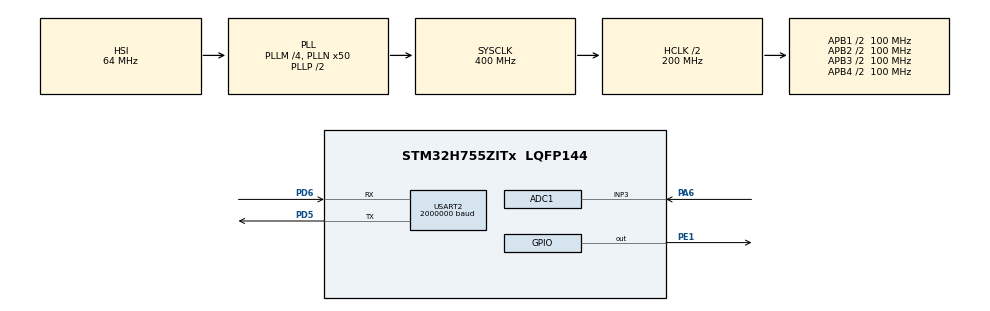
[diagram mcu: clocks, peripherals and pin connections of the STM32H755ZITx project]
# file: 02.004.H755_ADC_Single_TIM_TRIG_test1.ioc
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ADC1.Channel-0\#ChannelRegularConversion=ADC_CHANNEL_3
ADC1.ConversionDataManagement=ADC_CONVERSIONDATA_DMA_CIRCULAR
ADC1.ExternalTrigConv=ADC_EXTERNALTRIG_T8_TRGO
ADC1.NbrOfConversionFlag=1
ADC1.OffsetNumber-0\#ChannelRegularConversion=ADC_OFFSET_NONE
ADC1.OffsetSignedSaturation-0\#ChannelRegularConversion=DISABLE
ADC1.Rank-0\#ChannelRegularConversion=1
ADC1.SamplingTime-0\#ChannelRegularConversion=ADC_SAMPLETIME_1CYCLE_5
ADC1.master=1
CortexM4.IPs=FATFS_M4\:I,FREERTOS_M4\:I,IWDG2\:I,RCC,WWDG2\:I,DMA,BDMA,MDMA,NVIC2\:I,ETH,DEBUG,PDM2PCM_M4\:I,PWR,RESMGR_UTILITY,SYS_M4\:I,USB_DEVICE_M4\:I,USB_HOST_M4\:I,CORTEX_M4\:I,GPIO,OPENAMP_M4\:I,VREFBUF,NUCLEO-H755ZI-Q
CortexM7.IPs=FATFS_M7\:I,FREERTOS_M7\:I,IWDG1\:I,RCC\:I,WWDG1\:I,DMA\:I,BDMA\:I,MDMA\:I,NVIC1\:I,ETH\:I,USB_OTG_FS\:I,SYS\:I,CORTEX_M7\:I,DEBUG\:I,PDM2PCM_M7\:I,PWR\:I,RESMGR_UTILITY\:I,USB_DEVICE_M7\:I,USB_HOST_M7\:I,GPIO\:I,OPENAMP_M7\:I,VREFBUF\:I,NUCLEO-H755ZI-Q\:I,MEMORYMAP\:I,USART2\:I,TIM8\:I,ADC1\:I
CortexM7.Pins=PE1
Dma.ADC1.2.Direction=DMA_PERIPH_TO_MEMORY
Dma.ADC1.2.EventEnable=DISABLE
Dma.ADC1.2.FIFOMode=DMA_FIFOMODE_DISABLE
Dma.ADC1.2.Instance=DMA1_Stream2
Dma.ADC1.2.MemDataAlignment=DMA_MDATAALIGN_HALFWORD
Dma.ADC1.2.MemInc=DMA_MINC_ENABLE
Dma.ADC1.2.Mode=DMA_CIRCULAR
Dma.ADC1.2.PeriphDataAlignment=DMA_PDATAALIGN_HALFWORD
Dma.ADC1.2.PeriphInc=DMA_PINC_DISABLE
Dma.ADC1.2.Polarity=HAL_DMAMUX_REQ_GEN_RISING
Dma.ADC1.2.Priority=DMA_PRIORITY_LOW
Dma.ADC1.2.RequestNumber=1
Dma.ADC1.2.SignalID=NONE
Dma.ADC1.2.SyncEnable=DISABLE
Dma.ADC1.2.SyncPolarity=HAL_DMAMUX_SYNC_NO_EVENT
Dma.ADC1.2.SyncRequestNumber=1
Dma.ADC1.2.SyncSignalID=NONE
Dma.Request0=USART2_TX
Dma.Request1=USART2_RX
Dma.Request2=ADC1
Dma.USART2_RX.1.Direction=DMA_PERIPH_TO_MEMORY
Dma.USART2_RX.1.EventEnable=DISABLE
Dma.USART2_RX.1.FIFOMode=DMA_FIFOMODE_DISABLE
Dma.USART2_RX.1.Instance=DMA1_Stream1
Dma.USART2_RX.1.MemDataAlignment=DMA_MDATAALIGN_BYTE
Dma.USART2_RX.1.MemInc=DMA_MINC_ENABLE
Dma.USART2_RX.1.Mode=DMA_NORMAL
Dma.USART2_RX.1.PeriphDataAlignment=DMA_PDATAALIGN_BYTE
Dma.USART2_RX.1.PeriphInc=DMA_PINC_DISABLE
Dma.USART2_RX.1.Polarity=HAL_DMAMUX_REQ_GEN_RISING
Dma.USART2_RX.1.Priority=DMA_PRIORITY_LOW
Dma.USART2_RX.1.RequestNumber=1
Dma.USART2_RX.1.SignalID=NONE
Dma.USART2_RX.1.SyncEnable=DISABLE
Dma.USART2_RX.1.SyncPolarity=HAL_DMAMUX_SYNC_NO_EVENT
Dma.USART2_RX.1.SyncRequestNumber=1
Dma.USART2_RX.1.SyncSignalID=NONE
Dma.USART2_TX.0.Direction=DMA_MEMORY_TO_PERIPH
Dma.USART2_TX.0.EventEnable=DISABLE
Dma.USART2_TX.0.FIFOMode=DMA_FIFOMODE_DISABLE
Dma.USART2_TX.0.Instance=DMA1_Stream0
Dma.USART2_TX.0.MemDataAlignment=DMA_MDATAALIGN_BYTE
Dma.USART2_TX.0.MemInc=DMA_MINC_ENABLE
Dma.USART2_TX.0.Mode=DMA_NORMAL
Dma.USART2_TX.0.PeriphDataAlignment=DMA_PDATAALIGN_BYTE
Dma.USART2_TX.0.PeriphInc=DMA_PINC_DISABLE
Dma.USART2_TX.0.Polarity=HAL_DMAMUX_REQ_GEN_RISING
Dma.USART2_TX.0.Priority=DMA_PRIORITY_LOW
Dma.USART2_TX.0.RequestNumber=1
Dma.USART2_TX.0.SignalID=NONE
Dma.USART2_TX.0.SyncEnable=DISABLE
Dma.USART2_TX.0.SyncPolarity=HAL_DMAMUX_SYNC_NO_EVENT
Dma.USART2_TX.0.SyncRequestNumber=1
Dma.USART2_TX.0.SyncSignalID=NONE
Mcu.Family=STM32H7
Mcu.Name=STM32H755ZITx
Mcu.Package=LQFP144
NVIC1.ADC_IRQn=true\:1\:0\:true\:false\:true\:true\:true\:true
NVIC1.DMA1_Stream0_IRQn=true\:2\:0\:true\:false\:true\:false\:true\:true
NVIC1.DMA1_Stream1_IRQn=true\:2\:0\:true\:false\:true\:false\:true\:true
NVIC1.DMA1_Stream2_IRQn=true\:1\:0\:true\:false\:true\:false\:true\:true
NVIC1.PriorityGroup=NVIC_PRIORITYGROUP_4
NVIC1.TIM8_UP_TIM13_IRQn=true\:0\:0\:false\:false\:true\:true\:true\:true
NVIC1.USART2_IRQn=true\:2\:0\:true\:false\:true\:true\:true\:true
NVIC2.PriorityGroup=NVIC_PRIORITYGROUP_4
PA6.PinAttribute=CortexM7
PA6.Signal=ADCx_INP3
PD5.Mode=Asynchronous
PD5.PinAttribute=CortexM7
PD5.Signal=USART2_TX
PD6.Mode=Asynchronous
PD6.PinAttribute=CortexM7
PD6.Signal=USART2_RX
PE1.PinAttribute=CortexM7
PE1.Signal=GPIO_Output
ProjectManager.HeapSize=M4-0x200,M7-0x200
ProjectManager.StackSize=M4-0x400,M7-0x400
ProjectManager.TargetToolchain=STM32CubeIDE
RCC.ADCFreq_Value=96000000
RCC.APB1Freq_Value=100000000
RCC.APB2Freq_Value=100000000
RCC.APB3Freq_Value=100000000
RCC.APB4Freq_Value=100000000
RCC.CortexFreq_Value=400000000
RCC.D1PPRE=RCC_APB3_DIV2
RCC.D2PPRE1=RCC_APB1_DIV2
RCC.D2PPRE2=RCC_APB2_DIV2
RCC.D3PPRE=RCC_APB4_DIV2
RCC.DIVM1=4
RCC.DIVM2=4
RCC.DIVN1=50
RCC.DIVN2=12
RCC.DIVQ1=5
RCC.HCLKFreq_Value=200000000
RCC.HPRE=RCC_HCLK_DIV2
RCC.PLL2FRACN=0
RCC.PLL3FRACN=0
RCC.PLLFRACN=0
RCC.SYSCLKFreq_VALUE=400000000
RCC.SYSCLKSource=RCC_SYSCLKSOURCE_PLLCLK
RCC.SupplySource=PWR_DIRECT_SMPS_SUPPLY
RCC.USBFreq_Value=160000000
SH.ADCx_INP3.0=ADC1_INP3,IN3-Single-Ended
TIM8.Period=3999
TIM8.Prescaler=49999
TIM8.TIM_MasterOutputTrigger=TIM_TRGO_UPDATE
USART2.BaudRate=2000000
USART2.VirtualMode-Asynchronous=VM_ASYNC
VP_MEMORYMAP_VS_MEMORYMAP.Mode=CurAppReg
VP_SYS_M4_VS_Systick.Mode=SysTick
VP_TIM8_VS_ClockSourceINT.Mode=Internal
board=NUCLEO-H755ZI-Q

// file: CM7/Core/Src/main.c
/* USER CODE BEGIN Header */
/**
  ******************************************************************************
  * @file           : main.c
  * @brief          : Main program body
  ******************************************************************************
  * @attention
  *
  * Copyright (c) 2025 STMicroelectronics.
  * All rights reserved.
  *
  * This software is licensed under terms that can be found in the LICENSE file
  * in the root directory of this software component.
  * If no LICENSE file comes with this software, it is provided AS-IS.
  *
  ******************************************************************************
  */
/* USER CODE END Header */
#include "main.h"

/* USER CODE BEGIN Includes */

/*
 * UART2 DMA RX and TX are used with TIM8 priority-based update interrupt at each 1ms.
 * DMA RX buffer is the normal buffer because DMA completes once after filling the
 * entire 64-byte buffer, and then triggers the “Transfer Complete” interrupt.
 * After that:

	-The DMA doesn’t automatically restart (unless you use circular mode).

	-So, no new UART bytes are transferred from the peripheral into memory.

	-Your code keeps waiting for new data, but DMA is idle — so no more “Got: …” messages.

	Re-enable DMA after full buffer with "void HAL_UART_RxCpltCallback(UART_HandleTypeDef *huart)"

	Tx DMA is also in normal mode

	Enable float for DebugPrint();in CubeIDE through Project → Properties → C/C++ Build → Settings
	Open MCU GCC Linker → Miscellaneous
	In “Other flags”, add:"-u _printf_float".

	Setting						Flash Size
	Default (no float)				~35 KB
	With -u _printf_float			~52 KB

	or do

	float v = 1.2345f;
	DebugPrint("Voltage: %d.%02d V\r\n", (int)v, (int)((v - (int)v) * 100));

	*/
#include <stdio.h>
#include <string.h>
#include <stddef.h>
#include <stdarg.h>
#include <stdbool.h>
#include <stdlib.h>
/* USER CODE END Includes */

/* USER CODE BEGIN PD */

/* DUAL_CORE_BOOT_SYNC_SEQUENCE: Define for dual core boot synchronization    */
/*                             demonstration code based on hardware semaphore */
/* This define is present in both CM7/CM4 projects                            */
/* To comment when developping/debugging on a single core                     */
#define DUAL_CORE_BOOT_SYNC_SEQUENCE

#if defined(DUAL_CORE_BOOT_SYNC_SEQUENCE)
#ifndef HSEM_ID_0
#define HSEM_ID_0 (0U) /* HW semaphore 0*/
#endif
#endif /* DUAL_CORE_BOOT_SYNC_SEQUENCE */

/* USER CODE END PD */

ADC_HandleTypeDef hadc1;
DMA_HandleTypeDef hdma_adc1;

TIM_HandleTypeDef htim8;

UART_HandleTypeDef huart2;
DMA_HandleTypeDef hdma_usart2_tx;
DMA_HandleTypeDef hdma_usart2_rx;

/* USER CODE BEGIN PV */
uint8_t dma_rx_buffer[64];
uint16_t old_pos = 0;

uint8_t tim_update_event = 0;
uint16_t ADC_VAL = 0;
float value = 0.0f;

/* USER CODE END PV */

void SystemClock_Config(void);
static void MX_GPIO_Init(void);
static void MX_DMA_Init(void);
static void MX_USART2_UART_Init(void);
static void MX_TIM8_Init(void);
static void MX_ADC1_Init(void);
/* USER CODE BEGIN PFP */

void DebugPrint(const char *format, ...)
{
    static char uartBuffer[250];  // <--- persists after function returns
    va_list args;
    va_start(args, format);
    vsnprintf(uartBuffer, sizeof(uartBuffer), format, args);
    va_end(args);

    HAL_UART_Transmit_DMA(&huart2, (uint8_t*)uartBuffer, strlen(uartBuffer));
}

void check_dma_data(void)
{
    static uint32_t total_pos = 0;  // new: global linear counter

    uint16_t pos = sizeof(dma_rx_buffer) - __HAL_DMA_GET_COUNTER(&hdma_usart2_rx);

    if (pos != old_pos)
    {
        if (pos > old_pos)
        {
            // Normal forward move (no wrap)
            for (uint16_t i = old_pos; i < pos; i++)
            {
                DebugPrint("\r\nGot: '%c' (0x%02X) at pos %lu\r\n\r\n",
                           dma_rx_buffer[i], dma_rx_buffer[i], total_pos++);
            }
        }
        else
        {
            // Wrapped around — handle end part and restart from 0
            for (uint16_t i = old_pos; i < sizeof(dma_rx_buffer); i++)
            {
                DebugPrint("\r\nGot: '%c' (0x%02X) at pos %lu\r\n\r\n",
                           dma_rx_buffer[i], dma_rx_buffer[i], total_pos++);
            }
            for (uint16_t i = 0; i < pos; i++)
            {
                DebugPrint("\r\nGot: '%c' (0x%02X) at pos %lu\r\n\r\n",
                           dma_rx_buffer[i], dma_rx_buffer[i], total_pos++);
            }
        }

        old_pos = pos;
    }
}

/* USER CODE END PFP */

int main(void)
{

/* USER CODE BEGIN Boot_Mode_Sequence_0 */
#if defined(DUAL_CORE_BOOT_SYNC_SEQUENCE)
  int32_t timeout;
#endif /* DUAL_CORE_BOOT_SYNC_SEQUENCE */
/* USER CODE END Boot_Mode_Sequence_0 */

/* USER CODE BEGIN Boot_Mode_Sequence_1 */
#if defined(DUAL_CORE_BOOT_SYNC_SEQUENCE)
  /* Wait until CPU2 boots and enters in stop mode or timeout*/
  timeout = 0xFFFF;
  while((__HAL_RCC_GET_FLAG(RCC_FLAG_D2CKRDY) != RESET) && (timeout-- > 0));
  if ( timeout < 0 )
  {
  Error_Handler();
  }
#endif /* DUAL_CORE_BOOT_SYNC_SEQUENCE */
/* USER CODE END Boot_Mode_Sequence_1 */
  /* MCU Configuration--------------------------------------------------------*/

  /* Reset of all peripherals, Initializes the Flash interface and the Systick. */
  HAL_Init();

  /* Configure the system clock */
  SystemClock_Config();
/* USER CODE BEGIN Boot_Mode_Sequence_2 */
#if defined(DUAL_CORE_BOOT_SYNC_SEQUENCE)
/* When system initialization is finished, Cortex-M7 will release Cortex-M4 by means of
HSEM notification */
/*HW semaphore Clock enable*/
__HAL_RCC_HSEM_CLK_ENABLE();
/*Take HSEM */
HAL_HSEM_FastTake(HSEM_ID_0);
/*Release HSEM in order to notify the CPU2(CM4)*/
HAL_HSEM_Release(HSEM_ID_0,0);
/* wait until CPU2 wakes up from stop mode */
timeout = 0xFFFF;
while((__HAL_RCC_GET_FLAG(RCC_FLAG_D2CKRDY) == RESET) && (timeout-- > 0));
if ( timeout < 0 )
{
Error_Handler();
}
#endif /* DUAL_CORE_BOOT_SYNC_SEQUENCE */
/* USER CODE END Boot_Mode_Sequence_2 */

  /* Initialize all configured peripherals */
  MX_GPIO_Init();
  MX_DMA_Init();
  MX_USART2_UART_Init();
  MX_TIM8_Init();
  MX_ADC1_Init();
  /* USER CODE BEGIN 2 */
  HAL_UART_Receive_DMA(&huart2, dma_rx_buffer, sizeof(dma_rx_buffer));
  DebugPrint("DMA started!!! Type something...\r\n\r\n");

  HAL_TIM_Base_Start_IT(&htim8);

  HAL_ADC_Start_DMA(&hadc1, (uint32_t *)&ADC_VAL, 1);
  /* USER CODE END 2 */

  /* Infinite loop */
  while (1)
  {
	  if(tim_update_event)
	  {
		  value = (ADC_VAL * 3.3f) / 65535.0f;
		  DebugPrint("ADC Value: %.5d | Voltage: %.2fV\r\n", ADC_VAL,value);
		  tim_update_event = 0;
	  }
    /* USER CODE BEGIN 3 */

	  check_dma_data();
  }
  /* USER CODE END 3 */
}

void SystemClock_Config(void)
{
  RCC_OscInitTypeDef RCC_OscInitStruct = {0};
  RCC_ClkInitTypeDef RCC_ClkInitStruct = {0};

  /** Supply configuration update enable
  */
  HAL_PWREx_ConfigSupply(PWR_DIRECT_SMPS_SUPPLY);

  /** Configure the main internal regulator output voltage
  */
  __HAL_PWR_VOLTAGESCALING_CONFIG(PWR_REGULATOR_VOLTAGE_SCALE1);

  while(!__HAL_PWR_GET_FLAG(PWR_FLAG_VOSRDY)) {}

  /** Initializes the RCC Oscillators according to the specified parameters
  * in the RCC_OscInitTypeDef structure.
  */
  RCC_OscInitStruct.OscillatorType = RCC_OSCILLATORTYPE_HSI;
  RCC_OscInitStruct.HSIState = RCC_HSI_DIV1;
  RCC_OscInitStruct.HSICalibrationValue = RCC_HSICALIBRATION_DEFAULT;
  RCC_OscInitStruct.PLL.PLLState = RCC_PLL_ON;
  RCC_OscInitStruct.PLL.PLLSource = RCC_PLLSOURCE_HSI;
  RCC_OscInitStruct.PLL.PLLM = 4;
  RCC_OscInitStruct.PLL.PLLN = 50;
  RCC_OscInitStruct.PLL.PLLP = 2;
  RCC_OscInitStruct.PLL.PLLQ = 5;
  RCC_OscInitStruct.PLL.PLLR = 2;
  RCC_OscInitStruct.PLL.PLLRGE = RCC_PLL1VCIRANGE_3;
  RCC_OscInitStruct.PLL.PLLVCOSEL = RCC_PLL1VCOWIDE;
  RCC_OscInitStruct.PLL.PLLFRACN = 0;
  if (HAL_RCC_OscConfig(&RCC_OscInitStruct) != HAL_OK)
  {
    Error_Handler();
  }

  /** Initializes the CPU, AHB and APB buses clocks
  */
  RCC_ClkInitStruct.ClockType = RCC_CLOCKTYPE_HCLK|RCC_CLOCKTYPE_SYSCLK
                              |RCC_CLOCKTYPE_PCLK1|RCC_CLOCKTYPE_PCLK2
                              |RCC_CLOCKTYPE_D3PCLK1|RCC_CLOCKTYPE_D1PCLK1;
  RCC_ClkInitStruct.SYSCLKSource = RCC_SYSCLKSOURCE_PLLCLK;
  RCC_ClkInitStruct.SYSCLKDivider = RCC_SYSCLK_DIV1;
  RCC_ClkInitStruct.AHBCLKDivider = RCC_HCLK_DIV2;
  RCC_ClkInitStruct.APB3CLKDivider = RCC_APB3_DIV2;
  RCC_ClkInitStruct.APB1CLKDivider = RCC_APB1_DIV2;
  RCC_ClkInitStruct.APB2CLKDivider = RCC_APB2_DIV2;
  RCC_ClkInitStruct.APB4CLKDivider = RCC_APB4_DIV2;

  if (HAL_RCC_ClockConfig(&RCC_ClkInitStruct, FLASH_LATENCY_2) != HAL_OK)
  {
    Error_Handler();
  }
}

static void MX_ADC1_Init(void)
{

  ADC_MultiModeTypeDef multimode = {0};
  ADC_ChannelConfTypeDef sConfig = {0};

  /** Common config
  */
  hadc1.Instance = ADC1;
  hadc1.Init.ClockPrescaler = ADC_CLOCK_ASYNC_DIV1;
  hadc1.Init.Resolution = ADC_RESOLUTION_16B;
  hadc1.Init.ScanConvMode = ADC_SCAN_DISABLE;
  hadc1.Init.EOCSelection = ADC_EOC_SINGLE_CONV;
  hadc1.Init.LowPowerAutoWait = DISABLE;
  hadc1.Init.ContinuousConvMode = DISABLE;
  hadc1.Init.NbrOfConversion = 1;
  hadc1.Init.DiscontinuousConvMode = DISABLE;
  hadc1.Init.ExternalTrigConv = ADC_EXTERNALTRIG_T8_TRGO;
  hadc1.Init.ExternalTrigConvEdge = ADC_EXTERNALTRIGCONVEDGE_RISING;
  hadc1.Init.ConversionDataManagement = ADC_CONVERSIONDATA_DMA_CIRCULAR;
  hadc1.Init.Overrun = ADC_OVR_DATA_PRESERVED;
  hadc1.Init.LeftBitShift = ADC_LEFTBITSHIFT_NONE;
  hadc1.Init.OversamplingMode = DISABLE;
  hadc1.Init.Oversampling.Ratio = 1;
  if (HAL_ADC_Init(&hadc1) != HAL_OK)
  {
    Error_Handler();
  }

  /** Configure the ADC multi-mode
  */
  multimode.Mode = ADC_MODE_INDEPENDENT;
  if (HAL_ADCEx_MultiModeConfigChannel(&hadc1, &multimode) != HAL_OK)
  {
    Error_Handler();
  }

  /** Configure Regular Channel
  */
  sConfig.Channel = ADC_CHANNEL_3;
  sConfig.Rank = ADC_REGULAR_RANK_1;
  sConfig.SamplingTime = ADC_SAMPLETIME_1CYCLE_5;
  sConfig.SingleDiff = ADC_SINGLE_ENDED;
  sConfig.OffsetNumber = ADC_OFFSET_NONE;
  sConfig.Offset = 0;
  sConfig.OffsetSignedSaturation = DISABLE;
  if (HAL_ADC_ConfigChannel(&hadc1, &sConfig) != HAL_OK)
  {
    Error_Handler();
  }

}

static void MX_TIM8_Init(void)
{

  TIM_ClockConfigTypeDef sClockSourceConfig = {0};
  TIM_MasterConfigTypeDef sMasterConfig = {0};

  htim8.Instance = TIM8;
  htim8.Init.Prescaler = 49999;
  htim8.Init.CounterMode = TIM_COUNTERMODE_UP;
  htim8.Init.Period = 3999;
  htim8.Init.ClockDivision = TIM_CLOCKDIVISION_DIV1;
  htim8.Init.RepetitionCounter = 0;
  htim8.Init.AutoReloadPreload = TIM_AUTORELOAD_PRELOAD_DISABLE;
  if (HAL_TIM_Base_Init(&htim8) != HAL_OK)
  {
    Error_Handler();
  }
  sClockSourceConfig.ClockSource = TIM_CLOCKSOURCE_INTERNAL;
  if (HAL_TIM_ConfigClockSource(&htim8, &sClockSourceConfig) != HAL_OK)
  {
    Error_Handler();
  }
  sMasterConfig.MasterOutputTrigger = TIM_TRGO_UPDATE;
  sMasterConfig.MasterOutputTrigger2 = TIM_TRGO2_RESET;
  sMasterConfig.MasterSlaveMode = TIM_MASTERSLAVEMODE_DISABLE;
  if (HAL_TIMEx_MasterConfigSynchronization(&htim8, &sMasterConfig) != HAL_OK)
  {
    Error_Handler();
  }

}

static void MX_USART2_UART_Init(void)
{

  huart2.Instance = USART2;
  huart2.Init.BaudRate = 2000000;
  huart2.Init.WordLength = UART_WORDLENGTH_8B;
  huart2.Init.StopBits = UART_STOPBITS_1;
  huart2.Init.Parity = UART_PARITY_NONE;
  huart2.Init.Mode = UART_MODE_TX_RX;
  huart2.Init.HwFlowCtl = UART_HWCONTROL_NONE;
  huart2.Init.OverSampling = UART_OVERSAMPLING_16;
  huart2.Init.OneBitSampling = UART_ONE_BIT_SAMPLE_DISABLE;
  huart2.Init.ClockPrescaler = UART_PRESCALER_DIV1;
  huart2.AdvancedInit.AdvFeatureInit = UART_ADVFEATURE_NO_INIT;
  if (HAL_UART_Init(&huart2) != HAL_OK)
  {
    Error_Handler();
  }
  if (HAL_UARTEx_SetTxFifoThreshold(&huart2, UART_TXFIFO_THRESHOLD_1_8) != HAL_OK)
  {
    Error_Handler();
  }
  if (HAL_UARTEx_SetRxFifoThreshold(&huart2, UART_RXFIFO_THRESHOLD_1_8) != HAL_OK)
  {
    Error_Handler();
  }
  if (HAL_UARTEx_DisableFifoMode(&huart2) != HAL_OK)
  {
    Error_Handler();
  }

}

static void MX_DMA_Init(void)
{

  /* DMA controller clock enable */
  __HAL_RCC_DMA1_CLK_ENABLE();

  /* DMA interrupt init */
  /* DMA1_Stream0_IRQn interrupt configuration */
  HAL_NVIC_SetPriority(DMA1_Stream0_IRQn, 2, 0);
  HAL_NVIC_EnableIRQ(DMA1_Stream0_IRQn);
  /* DMA1_Stream1_IRQn interrupt configuration */
  HAL_NVIC_SetPriority(DMA1_Stream1_IRQn, 2, 0);
  HAL_NVIC_EnableIRQ(DMA1_Stream1_IRQn);
  /* DMA1_Stream2_IRQn interrupt configuration */
  HAL_NVIC_SetPriority(DMA1_Stream2_IRQn, 1, 0);
  HAL_NVIC_EnableIRQ(DMA1_Stream2_IRQn);

}

static void MX_GPIO_Init(void)
{
  GPIO_InitTypeDef GPIO_InitStruct = {0};

  /* GPIO Ports Clock Enable */
  __HAL_RCC_GPIOA_CLK_ENABLE();
  __HAL_RCC_GPIOD_CLK_ENABLE();
  __HAL_RCC_GPIOE_CLK_ENABLE();

  /*Configure GPIO pin Output Level */
  HAL_GPIO_WritePin(GPIOE, GPIO_PIN_1, GPIO_PIN_RESET);

  /*Configure GPIO pin : PE1 */
  GPIO_InitStruct.Pin = GPIO_PIN_1;
  GPIO_InitStruct.Mode = GPIO_MODE_OUTPUT_PP;
  GPIO_InitStruct.Pull = GPIO_NOPULL;
  GPIO_InitStruct.Speed = GPIO_SPEED_FREQ_LOW;
  HAL_GPIO_Init(GPIOE, &GPIO_InitStruct);

}

/* USER CODE BEGIN 4 */
void HAL_TIM_PeriodElapsedCallback(TIM_HandleTypeDef *htim)
{

}

void HAL_UART_RxCpltCallback(UART_HandleTypeDef *huart)
{
    if(huart->Instance == USART2)
    {

        // Restart DMA reception
    	HAL_UART_Receive_DMA(&huart2, dma_rx_buffer, sizeof(dma_rx_buffer));
    }
}

void HAL_ADC_ConvCpltCallback(ADC_HandleTypeDef *hadc)
{
	HAL_GPIO_TogglePin(GPIOE, GPIO_PIN_1);
	tim_update_event = 1;
}

/* USER CODE END 4 */

void Error_Handler(void)
{
  __disable_irq();
  while (1)
  {
  }
}
